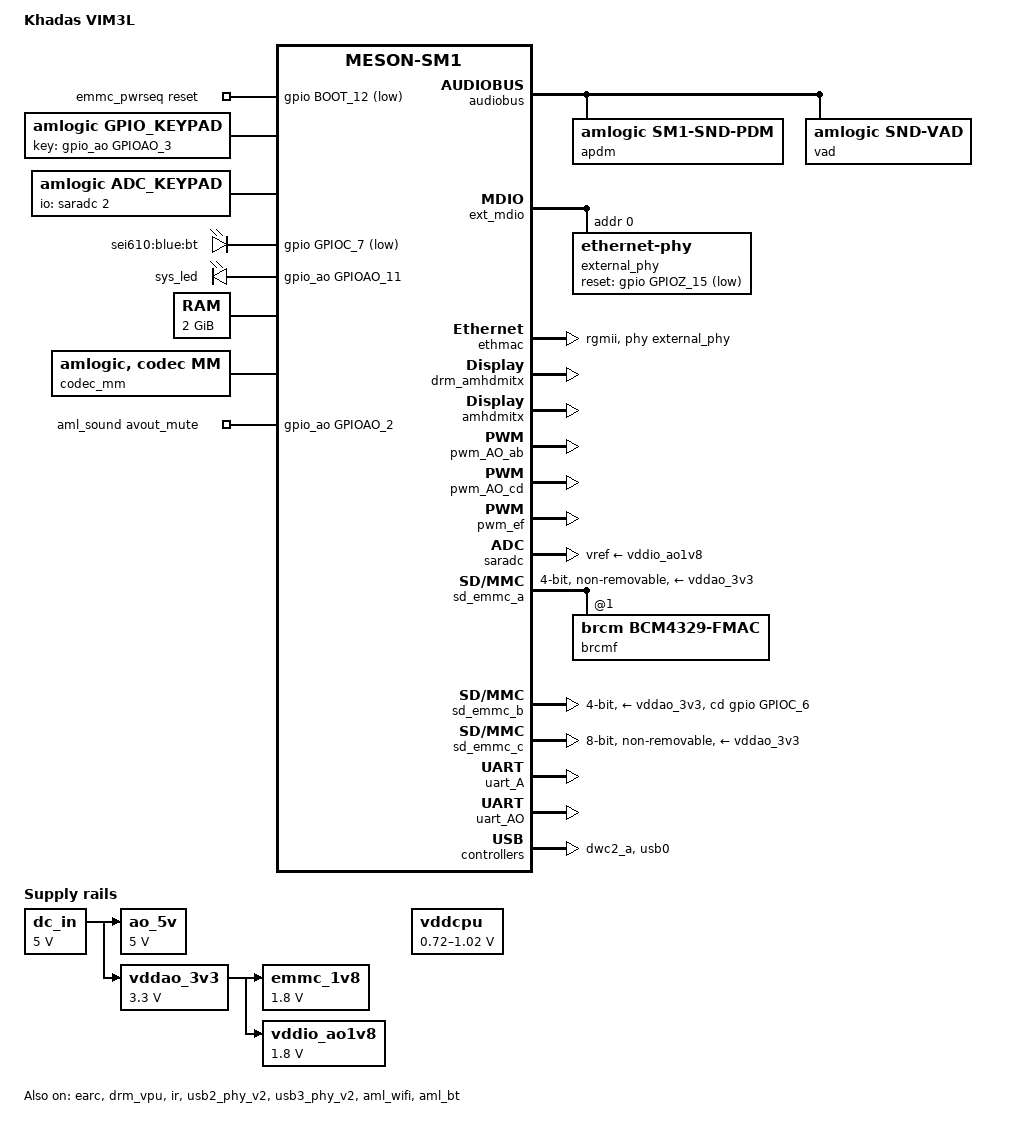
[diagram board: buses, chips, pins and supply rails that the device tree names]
// SPDX-License-Identifier: (GPL-2.0+ OR MIT)
/*
 * Copyright (c) 2019 BayLibre SAS. All rights reserved.
 */

/dts-v1/;

#include "meson-sm1.dtsi"
#include "mesonsm1_drm.dtsi"
#include "partition_linux.dtsi"
#include <dt-bindings/gpio/gpio.h>
#include <dt-bindings/input/input.h>
#include <dt-bindings/gpio/meson-g12a-gpio.h>
//#include "khadas-ts050-panel.dtsi"

/ {
	compatible = "amlogic,sm1";
	model = "Khadas VIM3L";
	amlogic-dt-id = "sm1_kvim3l";

	aliases {
		serial0 = &uart_AO;
		serial1 = &uart_A;
		serial2 = &uart_B;
		serial3 = &uart_C;
		serial4 = &uart_AO_B;
		ethernet0 = &ethmac;
		tsensor0 = &p_tsensor;
		tsensor1 = &d_tsensor;
		i2c0 = &i2c0;
		i2c1 = &i2c1;
		i2c2 = &i2c2;
		i2c3 = &i2c3;
		i2c4 = &i2c_AO;
		spi1 = &spicc0;
		spi2 = &spicc1;
	};

	chosen {
		stdout-path = "serial0:115200n8";
	};

	emmc_pwrseq: emmc-pwrseq {
		compatible = "mmc-pwrseq-emmc";
		reset-gpios = <&gpio BOOT_12 GPIO_ACTIVE_LOW>;
	};

	gpio_keypad{
		compatible = "amlogic, gpio_keypad";
		status = "okay";
		scan_period = <20>;
		key_num = <1>;
		key_name = "power";
		key_code = <116>;
		key-gpios = <&gpio_ao  GPIOAO_3  GPIO_ACTIVE_HIGH>;
		detect_mode = <0>;/*0:polling mode, 1:irq mode*/
	};

	adc_keypad {
		compatible = "amlogic, adc_keypad";
		status = "okay";
		key_name = "vol-", "vol+", "enter";
		key_num = <3>;
		io-channels = <&saradc 2>;
		io-channel-names = "key-chan-2";
		key_chan = <2 2 2>;
		key_code = <114 115 28>;
		key_val = <143 266 389>; //val=voltage/1800mV*1023
		key_tolerance = <40 40 40>;
	};

	leds {
		compatible = "gpio-leds";

		bluetooth {
			label = "sei610:blue:bt";
			gpios = <&gpio GPIOC_7 (GPIO_ACTIVE_LOW | GPIO_OPEN_DRAIN)>;
			default-state = "off";
		};

		sys_led {
			label = "sys_led";
			gpios = <&gpio_ao GPIOAO_11 GPIO_ACTIVE_HIGH>;
			default-state = "on";
		};
	};

	pwmleds {
		compatible = "pwm-leds";
		status = "disabled";

		power {
			label = "sei610:red:power";
			pwms = <&pwm_AO_ab 0 30518 0>;
			max-brightness = <255>;
			linux,default-trigger = "default-on";
			active-low;
		};
	};

	memory@0 {
		device_type = "memory";
		reg = <0x0 0x0 0x0 0x80000000>;
	};

	ao_5v: regulator-ao_5v {
		compatible = "regulator-fixed";
		regulator-name = "AO_5V";
		regulator-min-microvolt = <5000000>;
		regulator-max-microvolt = <5000000>;
		vin-supply = <&dc_in>;
		regulator-always-on;
	};

	dc_in: regulator-dc_in {
		compatible = "regulator-fixed";
		regulator-name = "DC_IN";
		regulator-min-microvolt = <5000000>;
		regulator-max-microvolt = <5000000>;
		regulator-always-on;
	};

	emmc_1v8: regulator-emmc_1v8 {
		compatible = "regulator-fixed";
		regulator-name = "EMMC_1V8";
		regulator-min-microvolt = <1800000>;
		regulator-max-microvolt = <1800000>;
		vin-supply = <&vddao_3v3>;
		regulator-always-on;
	};

	vddao_3v3: regulator-vddao_3v3 {
		compatible = "regulator-fixed";
		regulator-name = "VDDAO_3V3";
		regulator-min-microvolt = <3300000>;
		regulator-max-microvolt = <3300000>;
		vin-supply = <&dc_in>;
		regulator-always-on;
	};

	vddio_ao1v8: regulator-vddio_ao1v8 {
		compatible = "regulator-fixed";
		regulator-name = "VDDIO_AO1V8";
		regulator-min-microvolt = <1800000>;
		regulator-max-microvolt = <1800000>;
		vin-supply = <&vddao_3v3>;
		regulator-always-on;
	};

	reserved-memory {
		secmon_reserved:linux,secmon {
			compatible = "shared-dma-pool";
			reusable;
			size = <0x0 0x400000>;
			alignment = <0x0 0x400000>;
			alloc-ranges = <0x0 0x05000000 0x0 0x400000>;
		};

		ramdump_bl33z@00000000 {
			reg = <0x0 0x0 0x0 0x1800000>; /* 0 ~ 24M */
			status = "disabled";
		};

		secos_reserved:linux,secos {
			status = "disable";
			compatible = "amlogic, aml_secos_memory";
			reg = <0x0 0x05300000 0x0 0x2000000>;
			no-map;
		};

		logo_reserved:linux,meson-fb {
			compatible = "shared-dma-pool";
			reusable;
			size = <0x0 0x800000>;
			alignment = <0x0 0x400000>;
			alloc-ranges = <0x0 0x3f800000 0x0 0x800000>;
		};

		ion_cma_reserved:linux,ion-dev {
			compatible = "shared-dma-pool";
			reusable;
			size = <0x0 0x6400000>;
			alignment = <0x0 0x400000>;
		};
		ion_fb_reserved:linux,ion-fb {
			compatible = "shared-dma-pool";
			reusable;
			/* 1920x1080x4x3 round up 4M align */
			size = <0x0 0x1c00000>;
			alignment = <0x0 0x400000>;
		};

		/*di CMA pool */
		di_cma_reserved:linux,di_cma {
			compatible = "shared-dma-pool";
			reusable;
			/* buffer_size = 3621952(yuv422 8bit)
			 *  | 4736064(yuv422 10bit)
			 *  | 4074560(yuv422 10bit full pack mode)
			 * 10x3621952=34.6M(0x23) support 8bit
			 * 10x4736064=45.2M(0x2e) support 12bit
			 * 10x4074560=40M(0x28) support 10bit
			 */
			size = <0x0 0x05800000>;
			alignment = <0x0 0x400000>;
		};

		/*  POST PROCESS MANAGER */
		ppmgr_reserved:linux,ppmgr {
			compatible = "shared-dma-pool";
			size = <0x0 0x0>;
			alloc-ranges = <0x0 0x0 0x0 0xe0000000>;
		};

		codec_mm_cma:linux,codec_mm_cma {
			compatible = "shared-dma-pool";
			reusable;
			/* ion_codec_mm max can alloc size 80M*/
			size = <0x0 0x13400000>;
			alignment = <0x0 0x400000>;
			linux,contiguous-region;
		};

		/* codec shared reserved */
		codec_mm_reserved:linux,codec_mm_reserved {
			compatible = "amlogic, codec-mm-reserved";
			size = <0x0 0x0>;
			alignment = <0x0 0x100000>;
			//no-map;
		};

		autocap_reserved:linux,autocap_reserved {
			compatible = "amlogic, aml_autocap_memory";
			status = "disabled";
			//size = <0x0 0x4000000>;
			//alloc-ranges = <0x0 0x40000000 0x0 0x25800000>;
		};

		/*  vdin0 CMA pool */
		//vdin0_cma_reserved:linux,vdin0_cma {
		//	compatible = "shared-dma-pool";
		//	reusable;
			/* 3840x2160x4x4 ~=128 M */
		//	size = <0x0 0xc400000>;
		//	alignment = <0x0 0x400000>;
		//};

		/*  vdin1 CMA pool */
		vdin1_cma_reserved:linux,vdin1_cma {
			compatible = "shared-dma-pool";
			reusable;
			/*keystone need 4 buffers,each has 1920*1080*3
			 *for keystone, change to 0x1800000(24M)
			 */
			size = <0x0 0x1400000>;/*20M*/
			alignment = <0x0 0x400000>;
			alloc-ranges = <0x0 0x30000000 0x0 0x10000000>;
		};
	};

	cvbsout {
		status = "disabled";
	};
	
	
	amlvecm {
		compatible = "amlogic, vecm";
		dev_name = "aml_vecm";
		status = "okay";
		gamma_en = <0>;/*1:enabel ;0:disable*/
		wb_en = <0>;/*1:enabel ;0:disable*/
		cm_en = <0>;/*1:enabel ;0:disable*/
	};

	multi-di {
		compatible = "amlogic, dim-sm1";
		status = "okay";
		/* 0:use reserved; 1:use cma; 2:use cma as reserved */
		flag_cma = <1>;
		//memory-region = <&di_reserved>;
		memory-region = <&di_cma_reserved>;
		interrupts = <0 46 1
				0 40 1>;
		interrupt-names = "pre_irq", "post_irq";
		clocks = <&clkc CLKID_VPU_CLKB_TMP
			&clkc CLKID_VPU_CLKB
			&clkc CLKID_VPU>;
		clock-names = "vpu_clkb_tmp",
			"vpu_clkb",
			"vpu_mux";
		clock-range = <334 667>;
		/* buffer-size = <3621952>;(yuv422 8bit) */
		buffer-size = <4074560>;/*yuv422 fullpack*/
		/* reserve-iomap = "true"; */
		/* if enable nr10bit, set nr10bit-support to 1 */
		post-wr-support = <1>;
		nr10bit-support = <1>;
		nrds-enable = <1>;
		pps-enable = <1>;
	};

	deinterlace {
		compatible = "amlogic, deinterlace";
		status = "disable";
		/* 0:use reserved; 1:use cma; 2:use cma as reserved */
		flag_cma = <1>;
		//memory-region = <&di_reserved>;
		//memory-region = <&di_cma_reserved>;
		interrupts = <0 46 1
				0 40 1>;
		interrupt-names = "pre_irq", "post_irq";
		clocks = <&clkc CLKID_VPU_CLKB_TMP
			&clkc CLKID_VPU_CLKB
			&clkc CLKID_VPU>;
		clock-names = "vpu_clkb_tmp",
			"vpu_clkb",
			"vpu_mux";
		clock-range = <334 667>;
		/* buffer-size = <3621952>;(yuv422 8bit) */
		buffer-size = <4074560>;/*yuv422 fullpack*/
		/* reserve-iomap = "true"; */
		/* if enable nr10bit, set nr10bit-support to 1 */
		post-wr-support = <1>;
		nr10bit-support = <1>;
		nrds-enable = <1>;
		pps-enable = <1>;
	};
	
	picdec {
		compatible = "amlogic, picdec";
		status = "okay";
	};

	vdin@0 {
		compatible = "amlogic, vdin";
		/*memory-region = <&vdin0_cma_reserved>;*/
		status = "okay";
		/*bit0:(1:share with codec_mm;0:cma alone)
		 *bit8:(1:alloc in discontinus way;0:alone in continuous way)
		 */
		flag_cma = <0>;
		/*MByte, if 10bit disable: 64M(YUV422),
		 *if 10bit enable: 64*1.5 = 96M(YUV422)
		 *if support 4K2K-YUV444-10bit-WR:3840*2160*4*6 ~= 200M
		 *if support 4K2K-YUV422-10bit-wr:3840*2160*3*6 ~= 160M
		 *if support 4K2K-YUV422-8BIT-WR:3840*2160*2*4 ~= 64M
		 *if support 1080p-YUV422-8BIT-WR:1920*1080*2*4 ~= 16M
		 *worst case:(4096*2160*4 + 2M(afbce issue)) *6buf = 214.5M
		 */
		cma_size = <215>;
		interrupts = <0 83 1>;
		rdma-irq = <2>;
		clocks = <&clkc CLKID_FCLK_DIV5>,
			<&clkc CLKID_VDIN_MEAS_GATE>;
		clock-names = "fclk_div5", "cts_vdin_meas_clk";
		vdin_id = <0>;
		/*vdin write mem color depth support:
		 * bit0:support 8bit
		 * bit1:support 9bit
		 * bit2:support 10bit
		 * bit3:support 12bit
		 * bit4:support yuv422 10bit full pack mode (from txl new add)
		 * bit8:use 8bit  at 4k_50/60hz_10bit
		 * bit9:use 10bit at 4k_50/60hz_10bit
		 */
		tv_bit_mode = <0x15>;
		/* afbce_bit_mode: (amlogic frame buff compression encoder)
		 * bit0 -- enable afbce
		 * bit1 -- enable afbce compression-lossy
		 * bit4 -- afbce for 4k
		 * bit5 -- afbce for 1080p
		 * bit6 -- afbce for 720p
		 * bit7 -- afbce for smaller resolution
		 */
		afbce_bit_mode = <0x31>;
	};

	vdin@1 {
		compatible = "amlogic, vdin";
		memory-region = <&vdin1_cma_reserved>;
		status = "okay";
		/*bit0:(1:share with codec_mm;0:cma alone)
		 *bit8:(1:alloc in discontinus way;0:alone in continuous way)
		 */
		flag_cma = <0>;
		interrupts = <0 85 1>;
		rdma-irq = <4>;
		clocks = <&clkc CLKID_FCLK_DIV5>,
			<&clkc CLKID_VDIN_MEAS_GATE>;
		clock-names = "fclk_div5", "cts_vdin_meas_clk";
		vdin_id = <1>;
		/*vdin write mem color depth support:
		 *bit0:support 8bit
		 *bit1:support 9bit
		 *bit2:support 10bit
		 *bit3:support 12bit
		 */
		tv_bit_mode = <1>;
		reserve-iomap = "true";
	};
	
	codec_mm {
		compatible = "amlogic, codec, mm";
		memory-region = <&codec_mm_cma &codec_mm_reserved>;
		dev_name = "codec_mm";
		status = "okay";
	};

	aml_sound: auge_sound {
		compatible = "amlogic, auge-sound-card";
		aml-audio-card,name = "AML-AUGESOUND";

		/* avout mute gpio */
		avout_mute-gpios = <&gpio_ao GPIOAO_2 GPIO_ACTIVE_HIGH>;

		status = "okay";

		aml-audio-card,dai-link@0 {
			mclk-fs = <256>;
			suffix-name = "alsaPORT-earc";
			cpu {
				sound-dai = <&earc>;
				system-clock-frequency = <12288000>;
			};
			codec {
				sound-dai = <&earc>;
			};
		};
	};
	

	dolby_fw: dolby_fw {
		compatible = "amlogic, dolby_fw";
		mem_size = <0x100000>;
		status = "okay";
	};

	cpu_opp_table0: cpu_opp_table0 {
		compatible = "operating-points-v2";
		opp-shared;

		opp00 {
			opp-hz = /bits/ 64 <100000000>;
			opp-microvolt = <760000>;
		};
		opp01 {
			opp-hz = /bits/ 64 <250000000>;
			opp-microvolt = <760000>;
		};
		opp02 {
			opp-hz = /bits/ 64 <500000000>;
			opp-microvolt = <760000>;
		};
		opp03 {
			opp-hz = /bits/ 64 <667000000>;
			opp-microvolt = <780000>;
		};
		opp04 {
			opp-hz = /bits/ 64 <1000000000>;
			opp-microvolt = <800000>;
		};
		opp05 {
			opp-hz = /bits/ 64 <1200000000>;
			opp-microvolt = <810000>;
		};
		opp06 {
			opp-hz = /bits/ 64 <1404000000>;
			opp-microvolt = <820000>;
		};
		opp07 {
			opp-hz = /bits/ 64 <1500000000>;
			opp-microvolt = <830000>;
		};
		opp08 {
			opp-hz = /bits/ 64 <1608000000>;
			opp-microvolt = <860000>;
		};
		opp09 {
			opp-hz = /bits/ 64 <1704000000>;
			opp-microvolt = <900000>;
		};
		opp10 {
			opp-hz = /bits/ 64 <1800000000>;
			opp-microvolt = <940000>;
		};
		opp11 {
			opp-hz = /bits/ 64 <1908000000>;
			opp-microvolt = <1000000>;
		};
		opp12 {
			opp-hz = /bits/ 64 <2016000000>;
			opp-microvolt = <1010000>;
		};
		opp13 {
			opp-hz = /bits/ 64 <2100000000>;
			opp-microvolt = <1030000>;
		};
		opp14 {
			opp-hz = /bits/ 64 <2208000000>;
			opp-microvolt = <1040000>;
		};
	};

	cpu_opp_table1: cpu_opp_table1 {
		compatible = "operating-points-v2";
		opp-shared;

		opp00 {
			opp-hz = /bits/ 64 <100000000>;
			opp-microvolt = <760000>;
		};
		opp01 {
			opp-hz = /bits/ 64 <250000000>;
			opp-microvolt = <760000>;
		};
		opp02 {
			opp-hz = /bits/ 64 <500000000>;
			opp-microvolt = <760000>;
		};
		opp03 {
			opp-hz = /bits/ 64 <667000000>;
			opp-microvolt = <780000>;
		};
		opp04 {
			opp-hz = /bits/ 64 <1000000000>;
			opp-microvolt = <800000>;
		};
		opp05 {
			opp-hz = /bits/ 64 <1200000000>;
			opp-microvolt = <810000>;
		};
		opp06 {
			opp-hz = /bits/ 64 <1404000000>;
			opp-microvolt = <820000>;
		};
		opp07 {
			opp-hz = /bits/ 64 <1500000000>;
			opp-microvolt = <830000>;
		};
		opp08 {
			opp-hz = /bits/ 64 <1608000000>;
			opp-microvolt = <860000>;
		};
		opp09 {
			opp-hz = /bits/ 64 <1704000000>;
			opp-microvolt = <900000>;
		};
		opp10 {
			opp-hz = /bits/ 64 <1800000000>;
			opp-microvolt = <940000>;
		};
		opp11 {
			opp-hz = /bits/ 64 <1908000000>;
			opp-microvolt = <970000>;
		};
	};

	cpu_opp_table2: cpu_opp_table2 {
		compatible = "operating-points-v2";
		opp-shared;

		opp00 {
			opp-hz = /bits/ 64 <100000000>;
			opp-microvolt = <760000>;
		};
		opp01 {
			opp-hz = /bits/ 64 <250000000>;
			opp-microvolt = <760000>;
		};
		opp02 {
			opp-hz = /bits/ 64 <500000000>;
			opp-microvolt = <760000>;
		};
		opp03 {
			opp-hz = /bits/ 64 <667000000>;
			opp-microvolt = <780000>;
		};
		opp04 {
			opp-hz = /bits/ 64 <1000000000>;
			opp-microvolt = <800000>;
		};
		opp05 {
			opp-hz = /bits/ 64 <1200000000>;
			opp-microvolt = <810000>;
		};
		opp06 {
			opp-hz = /bits/ 64 <1404000000>;
			opp-microvolt = <820000>;
		};
		opp07 {
			opp-hz = /bits/ 64 <1500000000>;
			opp-microvolt = <830000>;
		};
		opp08 {
			opp-hz = /bits/ 64 <1608000000>;
			opp-microvolt = <860000>;
		};
		opp09 {
			opp-hz = /bits/ 64 <1704000000>;
			opp-microvolt = <900000>;
		};
		opp10 {
			opp-hz = /bits/ 64 <1800000000>;
			opp-microvolt = <910000>;
		};
		opp11 {
			opp-hz = /bits/ 64 <1908000000>;
			opp-microvolt = <910000>;
		};
	};

	cpu_opp_table3: cpu_opp_table3 {
		compatible = "operating-points-v2";
		opp-shared;

		opp00 {
			opp-hz = /bits/ 64 <100000000>;
			opp-microvolt = <760000>;
		};
		opp01 {
			opp-hz = /bits/ 64 <250000000>;
			opp-microvolt = <760000>;
		};
		opp02 {
			opp-hz = /bits/ 64 <500000000>;
			opp-microvolt = <760000>;
		};
		opp03 {
			opp-hz = /bits/ 64 <667000000>;
			opp-microvolt = <780000>;
		};
		opp04 {
			opp-hz = /bits/ 64 <1000000000>;
			opp-microvolt = <800000>;
		};
		opp05 {
			opp-hz = /bits/ 64 <1200000000>;
			opp-microvolt = <810000>;
		};
		opp06 {
			opp-hz = /bits/ 64 <1404000000>;
			opp-microvolt = <820000>;
		};
		opp07 {
			opp-hz = /bits/ 64 <1500000000>;
			opp-microvolt = <830000>;
		};
		opp08 {
			opp-hz = /bits/ 64 <1608000000>;
			opp-microvolt = <860000>;
		};
		opp09 {
			opp-hz = /bits/ 64 <1704000000>;
			opp-microvolt = <860000>;
		};
		opp10 {
			opp-hz = /bits/ 64 <1800000000>;
			opp-microvolt = <860000>;
		};
		opp11 {
			opp-hz = /bits/ 64 <1908000000>;
			opp-microvolt = <860000>;
		};
	};

	cpufreq-meson {
		compatible = "amlogic, cpufreq-meson";
		status = "okay";
	};

	efuse: efuse {
		status = "okay";
	};
};

&cpu0 {
	cpu-supply = <&vddcpu>;
	/*set multi table cpufreq max*/
	multi_tables_available;
	operating-points-v2 = <&cpu_opp_table0>,
			<&cpu_opp_table1>,
			<&cpu_opp_table2>,
			<&cpu_opp_table3>;
	clocks = <&clkc CLKID_CPU_CLK>,
	       <&clkc CLKID_CPU_CLK_DYN>,
	       <&clkc CLKID_SYS_PLL>,
	       <&clkc CLKID_DSU_CLK>,
	       <&clkc CLKID_DSU_CLK_FINAL>;
	clock-names = "core_clk",
		"low_freq_clk_parent",
		"high_freq_clk_parent",
		"dsu_clk",
		"dsu_pre_parent";
	clock-latency = <50000>;
};

&cpu1 {
	cpu-supply = <&vddcpu>;
	/*set multi table cpufreq max*/
	multi_tables_available;
	operating-points-v2 = <&cpu_opp_table0>,
			<&cpu_opp_table1>,
			<&cpu_opp_table2>,
			<&cpu_opp_table3>;
	clocks = <&clkc CLKID_CPU_CLK>,
	       <&clkc CLKID_CPU_CLK_DYN>,
	       <&clkc CLKID_SYS_PLL>,
	       <&clkc CLKID_DSU_CLK>,
	       <&clkc CLKID_DSU_CLK_FINAL>;
	clock-names = "core_clk",
		"low_freq_clk_parent",
		"high_freq_clk_parent",
		"dsu_clk",
		"dsu_pre_parent";
	clock-latency = <50000>;
};

&cpu2 {
	cpu-supply = <&vddcpu>;
	/*set multi table cpufreq max*/
	multi_tables_available;
	operating-points-v2 = <&cpu_opp_table0>,
			<&cpu_opp_table1>,
			<&cpu_opp_table2>,
			<&cpu_opp_table3>;
	clocks = <&clkc CLKID_CPU_CLK>,
	       <&clkc CLKID_CPU_CLK_DYN>,
	       <&clkc CLKID_SYS_PLL>,
	       <&clkc CLKID_DSU_CLK>,
	       <&clkc CLKID_DSU_CLK_FINAL>;
	clock-names = "core_clk",
		"low_freq_clk_parent",
		"high_freq_clk_parent",
		"dsu_clk",
		"dsu_pre_parent";
	clock-latency = <50000>;
};

&cpu3 {
	cpu-supply = <&vddcpu>;
	/*set multi table cpufreq max*/
	multi_tables_available;
	operating-points-v2 = <&cpu_opp_table0>,
			<&cpu_opp_table1>,
			<&cpu_opp_table2>,
			<&cpu_opp_table3>;
	clocks = <&clkc CLKID_CPU_CLK>,
	       <&clkc CLKID_CPU_CLK_DYN>,
	       <&clkc CLKID_SYS_PLL>,
	       <&clkc CLKID_DSU_CLK>,
	       <&clkc CLKID_DSU_CLK_FINAL>;
	clock-names = "core_clk",
		"low_freq_clk_parent",
		"high_freq_clk_parent",
		"dsu_clk",
		"dsu_pre_parent";
	clock-latency = <50000>;
};

&audiobus {
	apdm: pdm {
		compatible = "amlogic, sm1-snd-pdm";
		#sound-dai-cells = <0>;

		clocks = <&clkaudio CLKID_AUDIO_GATE_PDM
			&clkc CLKID_HIFI_PLL
			&clkc CLKID_HIFI_PLL
			&clkaudio CLKID_AUDIO_PDMIN0
			&clkaudio CLKID_AUDIO_PDMIN1>;
		clock-names = "gate",
			"sysclk_srcpll",
			"dclk_srcpll",
			"pdm_dclk",
			"pdm_sysclk";

		pinctrl-names = "pdm_pins";
		pinctrl-0 = <&pdm_din0_a_pins
				&pdm_din1_a_pins
				&pdm_din2_a_pins
				&pdm_din3_a_pins
				&pdm_dclk_a_pins>;

		/* mode 0~4, defalut:1 */
		filter_mode = <1>;
		train_sample_count = <0x2>;

		status = "okay";
	};

	vad:vad {
		compatible = "amlogic, snd-vad";
		#sound-dai-cells = <0>;

		clocks = <&clkaudio CLKID_AUDIO_GATE_TOVAD
			&clkc CLKID_HIFI_PLL
			&clkaudio CLKID_AUDIO_VAD>;
		clock-names = "gate", "pll", "clk";

		interrupts = <GIC_SPI 155 IRQ_TYPE_EDGE_RISING
				GIC_SPI 48 IRQ_TYPE_EDGE_RISING>;
		interrupt-names = "irq_wakeup", "irq_frame_sync";

			/*
			 * Data src sel:
			 * 0: tdmin_a;
			 * 1: tdmin_b;
			 * 2: tdmin_c;
			 * 3: spdifin;
			 * 4: pdmin;
			 * 5: loopback_b;
			 * 6: tdmin_lb;
			 * 7: loopback_a;
			 */
		src = <4>;

			/*
			 * deal with hot word in user space or kernel space
			 * 0: in user space
			 * 1: in kernel space
			 */
		level = <1>;

		status = "okay";
	};

	loopbacka:loopback@0 {
		compatible = "amlogic, sm1-loopbacka";
		#sound-dai-cells = <0>;

		clocks = <&clkaudio CLKID_AUDIO_GATE_PDM
			&clkc CLKID_HIFI_PLL
			&clkc CLKID_HIFI_PLL
			&clkaudio CLKID_AUDIO_PDMIN0
			&clkaudio CLKID_AUDIO_PDMIN1
			&clkc CLKID_MPLL0
			&clkaudio CLKID_AUDIO_MCLK_A>;
		clock-names = "pdm_gate",
			"pdm_sysclk_srcpll",
			"pdm_dclk_srcpll",
			"pdm_dclk",
			"pdm_sysclk",
			"tdminlb_mpll",
			"tdminlb_mclk";

			/* datain src
			 * 0: tdmin_a;
			 * 1: tdmin_b;
			 * 2: tdmin_c;
			 * 3: spdifin;
			 * 4: pdmin;
			 */
		datain_src = <4>;
		datain_chnum = <4>;
		datain_chmask = <0xf>;
		/* config which data pin for loopback */
		datain-lane-mask-in = <1 1 0 0>;

		/* calc mclk for datalb */
		mclk-fs = <256>;

			/* tdmin_lb src
			 * 0: tdmoutA
			 * 1: tdmoutB
			 * 2: tdmoutC
			 * 3: PAD_TDMINA_DIN*, refer to core pinmux
			 * 4: PAD_TDMINB_DIN*, refer to core pinmux
			 * 5: PAD_TDMINC_DIN*, refer to core pinmux
			 * 6: PAD_TDMINA_D*, oe, refer to core pinmux
			 * 7: PAD_TDMINB_D*, oe, refer to core pinmux
			 */
		/* if tdmin_lb >= 3, use external loopback */
		datalb_src = <1>;
		datalb_chnum = <2>;
		datalb_chmask = <0x3>;
		/* config which data pin as loopback */
		datalb-lane-mask-in = <1 0 0 0>;

		status = "disabled";
	};
};

&earc {
	status = "okay";
};

&vddcpu {
	pwms = <&pwm_AO_cd MESON_PWM_1 1250 0>;
	regulator-min-microvolt = <720000>;
	regulator-max-microvolt = <1020000>;
	max-duty-cycle = <1250>;
	/* Voltage Duty-Cycle */
	voltage-table = <1020000 0>,
		<1010000 4>,
		<1000000 8>,
		<990000 11>,
		<980000 14>,
		<970000 17>,
		<960000 20>,
		<950000 24>,
		<940000 27>,
		<930000 31>,
		<920000 35>,
		<910000 38>,
		<900000 42>,
		<890000 45>,
		<880000 48>,
		<870000 52>,
		<860000 56>,
		<850000 59>,
		<840000 63>,
		<830000 65>,
		<820000 67>,
		<810000 70>,
		<800000 74>,
		<790000 78>,
		<780000 80>,
		<770000 84>,
		<760000 88>,
		<750000 92>,
		<740000 95>,
		<730000 98>,
		<720000 100>;
};

&ext_mdio {
	external_phy: ethernet-phy@0 {
		reg = <0>;
		max-speed = <1000>;

		reset-assert-us = <10000>;
		reset-deassert-us = <30000>;
		reset-gpios = <&gpio GPIOZ_15 (GPIO_ACTIVE_LOW |
					GPIO_OPEN_DRAIN)>;

		interrupt-parent = <&gpio_intc>;
		interrupts = <26 IRQ_TYPE_LEVEL_LOW>;
	};
};
&ethmac {
	pinctrl-0 = <&eth_pins>, <&eth_rgmii_pins>;
	pinctrl-names = "default";
	status = "okay";
	phy-mode = "rgmii";
	phy-handle = <&external_phy>;
	amlogic,tx-delay-ns = <2>;
	
	mc_val = <0x1629>;

	cali_val = <0x60000>;
	rx_delay = <1>;
	auto_cali_idx = <0>;
	internal_phy=<0>;
};

&fb {
	status = "disabled";
	display_size_default = <1920 1080 1920 2160 32>;
	mem_size = <0x00800000 0x1980000 0x100000 0x100000 0x800000>;
	logo_addr = "0x3f800000";
	mem_alloc = <0>;
	pxp_mode = <0>; /** 0:normal mode 1:pxp mode */
};

&drm_vpu {
	status = "okay";
	logo_addr = "0x3f800000";
};

&drm_amhdmitx {
	status = "okay";
	hdcp = "disabled";
};

&amhdmitx {
	status = "okay";
	enc_idx = <0>;
	/* hdcp ctrl 0: sysctrl, 1: drv, 2: linux app */
	hdcp_ctl_lvl = <1>;
};

&i2c3 {
	status = "disabled";
	pinctrl-0 = <&i2c3_sda_a_pins>, <&i2c3_sck_a_pins>;
	pinctrl-names = "default";
	clock-frequency = <100000>; /* default 100k */
};

&ir {
	status = "okay";
	pinctrl-0 = <&remote_input_ao_pins>;
	pinctrl-names = "default";
};

&pwm_AO_ab {
	status = "okay";
};

&pwm_AO_cd {
	pinctrl-0 = <&pwm_ao_d_e_pins>;
	pinctrl-names = "default";
	status = "okay";
};

&pwm_ef {
	pinctrl-0 = <&pwm_e_pins>;
	pinctrl-names = "default";
	status = "okay";
};

&saradc {
	status = "okay";
	vref-supply = <&vddio_ao1v8>;
};

/* SDIO */
&sd_emmc_a {
	status = "okay";
	pinctrl-0 = <&sdio_pins>;
	pinctrl-1 = <&sdio_clk_gate_pins>;
	pinctrl-names = "default", "clk-gate";
	#address-cells = <1>;
	#size-cells = <0>;

	bus-width = <4>;
	cap-sd-highspeed;
	sd-uhs-sdr50;
	sd-uhs-sdr104;
	max-frequency = <200000000>;

	non-removable;
	disable-wp;

	vmmc-supply = <&vddao_3v3>;
	vqmmc-supply = <&vddio_ao1v8>;

	brcmf: wifi@1 {
		reg = <1>;
		compatible = "brcm,bcm4329-fmac";
	};
};

/* SD card */
&sd_emmc_b {
	status = "okay";
	pinctrl-0 = <&sdcard_c_pins>;
	pinctrl-1 = <&sdcard_clk_gate_c_pins>;
	pinctrl-2 = <&sd_1bit_pins>;
	pinctrl-3 = <&sd_to_ao_uart_clr_pins
		&sdcard_clk_gate_c_pins &ao_to_sd_uart_pins>;
	pinctrl-4 = <&sd_to_ao_uart_clr_pins
		&sd_1bit_pins &ao_to_sd_uart_pins>;
	pinctrl-5 = <&sdcard_c_pins &uart_ao_a_pins>;
	pinctrl-6 = <&sd_to_ao_uart_clr_pins
		&ao_to_sd_uart_pins>;
	pinctrl-7 = <&sdcard_c_pins &uart_ao_a_pins>;
	pinctrl-8 = <&sd_to_ao_uart_clr_pins
		&ao_to_sd_uart_pins>;
	pinctrl-names = "sd_default",
			"clk-gate",
			"sd_1bit_pins",
			"sd_clk_cmd_uart_pins",
			"sd_1bit_uart_pins",
			"sd_to_ao_uart_pins",
			"ao_to_sd_uart_pins",
			"sd_to_ao_jtag_pins",
			"ao_to_sd_jtag_pins";
	bus-width = <4>;
	cap-sd-highspeed;
//	sd-uhs-sdr12;
//	sd-uhs-sdr25;
//	sd-uhs-sdr50;
//	sd-uhs-sdr104;
	max-frequency = <200000000>;
	disable-wp;

	cd-gpios = <&gpio GPIOC_6 GPIO_ACTIVE_HIGH>;
	dat1-gpios = <&gpio GPIOC_1 GPIO_ACTIVE_HIGH>;
	vmmc-supply = <&vddao_3v3>;
	vqmmc-supply = <&emmc_1v8>;
};

/* eMMC */
&sd_emmc_c {
	status = "okay";
	pinctrl-0 = <&emmc_pins>, <&emmc_ds_pins>;
	pinctrl-1 = <&emmc_clk_gate_pins>;
	pinctrl-names = "default", "clk-gate";

	bus-width = <8>;
	cap-mmc-highspeed;
	//mmc-ddr-1_8v;
	mmc-hs200-1_8v;
	mmc-hs400-1_8v;
	max-frequency = <200000000>;
	non-removable;
	disable-wp;

	mmc-pwrseq = <&emmc_pwrseq>;
	vmmc-supply = <&vddao_3v3>;
	vqmmc-supply = <&emmc_1v8>;
};

&emmc_pwrseq {
	status = "okay";
};

&mtd_nand {
	status = "disabled";
	#address-cells = <1>;
	#size-cells = <0>;

	pinctrl-names = "nand_norb_mod","nand_cs_only";
	pinctrl-0 = <&all_nand_pins>;
	pinctrl-1 = <&nand_cs_pins>;
	bl_mode = <1>;
	fip_copies = <4>;
	fip_size = <0x200000>;
	ship_bad_block = <1>;
	nand@bootloader {
		reg = <0>;
		#address-cells = <1>;
		#size-cells = <1>;

		nand-ecc-maximize;
		partition@0 {
			label = "bootloader";
			reg = <0x0 0x00000000>;
		};
	};
	nand@normal {
		reg = <0>;
		#address-cells = <1>;
		#size-cells = <1>;

		nand-ecc-maximize;

		partition@0 {
			label = "tpl";
			reg = <0x0 0x00000000>;
		};
		partition@1 {
			label = "logo";
			reg = <0x0 0x00200000>;
		};
		partition@2 {
			label = "recovery";
			reg = <0x0 0x1000000>;
		};
		partition@3 {
			label = "boot";
			reg = <0x0 0x0F00000>;
		};
		partition@4 {
			label = "system";
			reg = <0x0 0x11800000>;
		};
		partition@5 {
			label = "data";
			reg = <0x0 0xffffffff>;
		};
	};
};

&uart_A {
	status = "okay";
	pinctrl-0 = <&uart_a_pins>, <&uart_a_cts_rts_pins>;
	pinctrl-names = "default";
	uart-has-rtscts;

	//bluetooth {
	//	compatible = "brcm,bcm43438-bt";
	//	shutdown-gpios = <&gpio GPIOX_17 GPIO_ACTIVE_HIGH>;
	//	max-speed = <2000000>;
	//	clocks = <&wifi32k>;
	//	clock-names = "lpo";
	//	vbat-supply = <&vddao_3v3>;
	//	vddio-supply = <&vddio_ao1v8>;
	//};
};

/* Exposed via the on-board USB to Serial FT232RL IC */
&uart_AO {
	status = "okay";
//	pinctrl-0 = <&uart_ao_a_pins>;
//	pinctrl-names = "default";
};

&dwc2_a {
	status = "okay";
	/** 0: normal, 1: otg+dwc3 host only, 2: otg+dwc3 device only*/
	controller-type = <2>;
};

&usb0 {
	status = "okay";
};

&usb2_phy_v2 {
	status = "okay";
	portnum = <2>;
};

&usb3_phy_v2 {
	status = "okay";
	portnum = <1>;
	otg = <0>;
};

&aml_wifi{
	status = "okay";
	interrupt-gpios = <&gpio  GPIOX_7  GPIO_ACTIVE_HIGH>;
	power_on-gpios = <&gpio   GPIOX_6  GPIO_ACTIVE_HIGH>;
};

&aml_bt {
	status = "okay";
	reset-gpios = <&gpio    GPIOX_17 GPIO_ACTIVE_HIGH>;
	hostwake-gpios = <&gpio GPIOX_19 GPIO_ACTIVE_HIGH>;
};

&pcie {
	status = "disabled";
	reset-gpio = <&gpio GPIOX_7 GPIO_ACTIVE_HIGH>;
};

&spicc0 {
	status = "disabled";
	pinctrl-names = "default";
	pinctrl-0 = <&spicc0_pins_x>;
	cs-gpios = <&gpio GPIOX_10 0>;
};

&spicc1 {
	status = "disabled";
	pinctrl-names = "default";
	pinctrl-0 = <&spicc1_pins>;
	cs-gpios = <&gpio GPIOH_6 0>;
};

&ao_pinctrl {
	dvb_s_ts0_pins: dvb_s_ts0_pins {
		tsin_a {
			groups =  "tsin_ao_asop",
				"tsin_ao_a_valid",
				"tsin_ao_aclk",
				"tsin_ao_adin0";
			function = "tsin_ao_a";
		};
	};
};

&cec_AO {
	status = "disabled";
	//hdmi-phandle = <&amhdmitx>;
};

&cecb_AO {
	status = "disabled";
	//hdmi-phandle = <&amhdmitx>;
};
